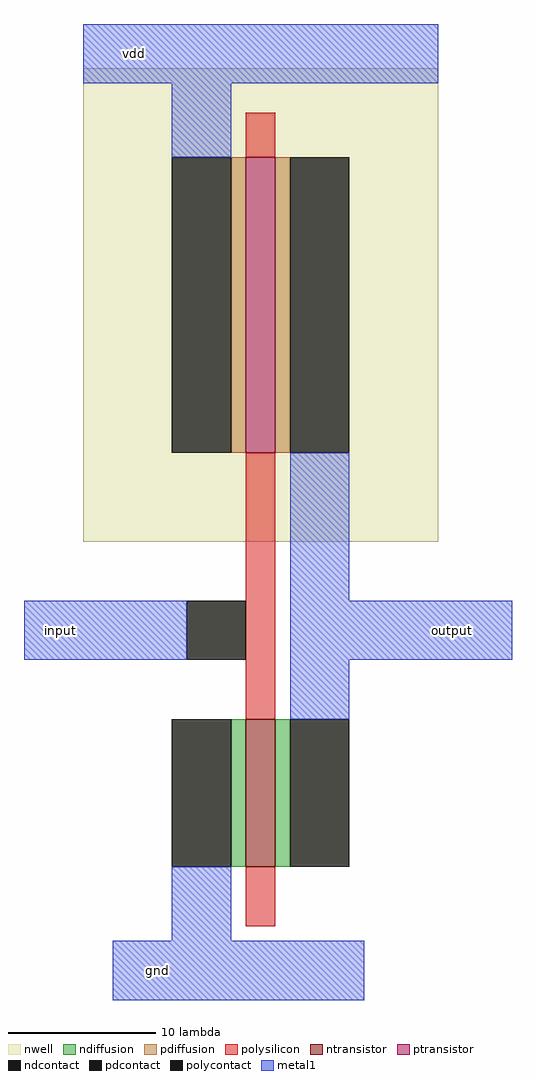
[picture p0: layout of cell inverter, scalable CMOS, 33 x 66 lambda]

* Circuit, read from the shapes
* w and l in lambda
.subckt inverter gnd input output vdd
M1 output input gnd VSUBS nfet w=10 l=2
M2 output input vdd n1 pfet w=20 l=2
.ends

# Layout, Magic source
magic
tech scmos
<< nwell >>
rect -11 22 13 54
<< ntransistor >>
rect 0 0 2 10
<< ptransistor >>
rect 0 28 2 48
<< ndiffusion >>
rect -1 0 0 10
rect 2 0 3 10
<< pdiffusion >>
rect -1 28 0 48
rect 2 28 3 48
<< ndcontact >>
rect -5 0 -1 10
rect 3 0 7 10
<< pdcontact >>
rect -5 28 -1 48
rect 3 28 7 48
<< polysilicon >>
rect 0 48 2 51
rect 0 10 2 28
rect 0 -4 2 0
<< polycontact >>
rect -4 14 0 18
<< metal1 >>
rect -11 53 13 57
rect -5 48 -1 53
rect 3 18 7 28
rect -15 14 -4 18
rect 3 14 18 18
rect 3 10 7 14
rect -5 -5 -1 0
rect -9 -9 8 -5
<< labels >>
rlabel metal1 -10 54 -5 56 5 vdd
rlabel metal1 -8 -8 -4 -6 1 gnd
rlabel metal1 -14 15 -11 17 3 input
rlabel metal1 12 15 16 17 7 output
<< end >>
